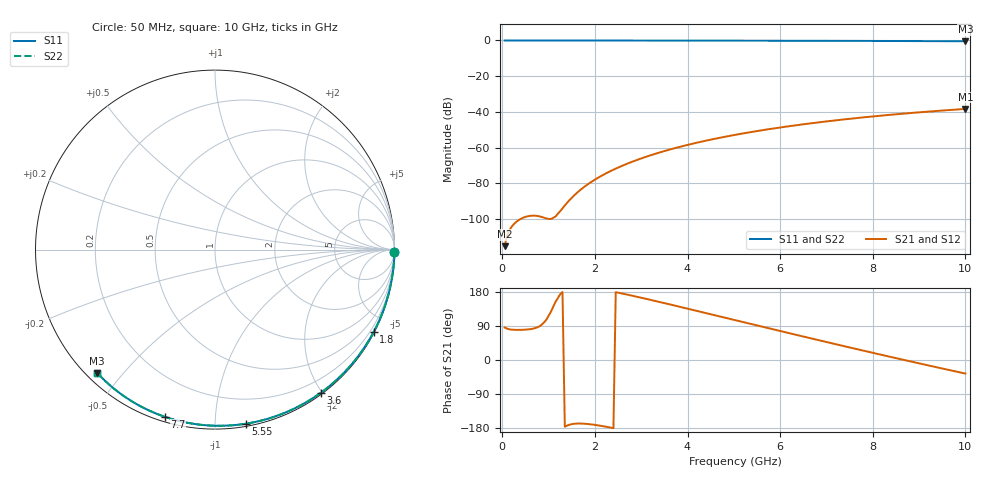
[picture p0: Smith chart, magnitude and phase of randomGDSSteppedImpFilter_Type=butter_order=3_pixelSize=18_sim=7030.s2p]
! freq	dB(S11)	phase(S11)	dB(S12)	phase(S12)
!  dB(S21)	phase(S21)	dB(S22)	phase(S22)
!S-par simulation data
#  GHz  S  DB  R 50
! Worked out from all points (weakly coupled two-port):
!   200 points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, 50 MHz to 10 GHz, reference 50 ohm
!   highest |S21| = -38.35 dB at 10 GHz (marker M1); lowest = -115.2 dB at 50 MHz (marker M2)
!   lowest |S11| = -0.4 dB at 10 GHz (marker M3), VSWR 38.99, Z = 1.52 - j21.4 ohm
!   |S11| at or under -10 dB: nowhere
!   |S22| runs from -0.4 to 0.0 dB; largest |S21 - S12| = 0
!   S11 on the Smith chart (normalised r, x): 50 MHz: open; 1.8 GHz: 0.04, -4.11; 3.6 GHz: 0.02, -1.99; 5.55 GHz: 0.02, -1.19; 7.7 GHz: 0.02, -0.74; 10 GHz: 0.03, -0.43
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0.05  -0.00 -0.8  -115.22 85.9  -115.22 85.9  -0.00 -0.8
0.9  -0.02 -13.8  -99.28 98.9  -99.28 98.9  -0.02 -13.8
1.75  -0.03 -26.6  -82.39 -168.0  -82.39 -168.0  -0.03 -26.6
1.8  -0.03 -27.3  -81.41 -168.4  -81.41 -168.4  -0.03 -27.3
1.85  -0.04 -28.1  -80.49 -168.9  -80.49 -168.9  -0.04 -28.1
1.9  -0.04 -28.8  -79.61 -169.6  -79.61 -169.6  -0.04 -28.8
2.05  -0.04 -31.1  -77.17 -172.1  -77.17 -172.1  -0.04 -31.1
2.25  -0.04 -34.0  -74.30 -176.3  -74.30 -176.3  -0.04 -34.0
2.45  -0.05 -37.0  -71.77 179.0  -71.77 179.0  -0.05 -36.9
2.65  -0.05 -39.9  -69.52 173.9  -69.52 173.9  -0.05 -39.9
3  -0.06 -44.9  -66.07 164.4  -66.07 164.4  -0.06 -44.9
3.4  -0.07 -50.6  -62.70 153.0  -62.70 153.0  -0.07 -50.6
3.6  -0.07 -53.5  -61.21 147.2  -61.21 147.2  -0.07 -53.5
4.3  -0.09 -63.2  -56.68 126.7  -56.68 126.7  -0.09 -63.2
5.05  -0.11 -73.3  -52.76 104.5  -52.76 104.5  -0.11 -73.3
5.55  -0.13 -79.9  -50.53 89.7  -50.53 89.7  -0.13 -79.8
6.1  -0.15 -86.9  -48.37 73.6  -48.37 73.6  -0.15 -86.9
6.7  -0.18 -94.5  -46.29 56.1  -46.29 56.1  -0.18 -94.5
7.7  -0.24 -106.7  -43.33 27.4  -43.33 27.4  -0.24 -106.7
8.35  -0.29 -114.4  -41.70 9.1  -41.70 9.1  -0.29 -114.4
9.15  -0.36 -123.8  -39.94 -13.0  -39.94 -13.0  -0.36 -123.8
10  -0.45 -133.7  -38.35 -35.9  -38.35 -35.9  -0.45 -133.7
